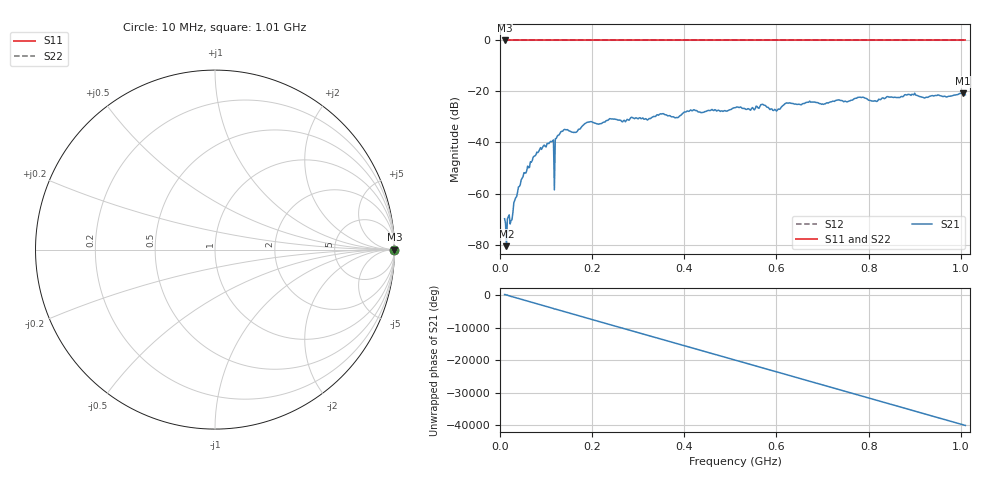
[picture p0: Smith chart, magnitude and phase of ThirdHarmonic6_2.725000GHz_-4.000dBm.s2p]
! 8/17/2025 6:39:56 AM
! C:\ANRITSUVNA\TEMP\TEMP.S2P
! CHANNEL.1
! TR.MEASUREMENT
! RAW.DATA
! RF.CORRECTION.OFF
! AVERAGING.OFF
! IF.BANDWIDTH: 5KHZ
! SWEEPTYPE:  FREQ.SWEEP(Linear)
! Reference Plane Port Info
! PORT:  PORT1  PORT2
! DISTANCE:  0  m  0  m
! TIME:  0  s  0  s
! PHASE.OFFSET:  0  deg.  0  deg.
! LOSS:  0  dB  0  dB
! REF.LOSS:  0  dB  0  dB
! REF.FREQ:  0  Hz  0  Hz
! Power Info
! POWER:  -20  dBm  -20  dBm
! EFF.POWER:  -20  dBm  -20  dBm
! SOURCE.ATTEN:  0  dB  0  dB
! TEST.ATTEN:  0  dB  0  dB
# GHZ S RI R 50.0
! FREQ.GHZ  S11RE  S11IM  S21RE  S21IM  S12RE  S12IM  S22RE  S22IM
!; PortSelection: Port_12
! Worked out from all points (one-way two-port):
!   501 points, 10 MHz to 1.01 GHz, reference 50 ohm
!   highest |S21| = -20.64 dB at 1.004 GHz (marker M1); lowest = -80.6 dB at 14 MHz (marker M2)
!   lowest |S11| = 0.0 dB at 10 MHz (marker M3)
!   |S11| at or under -10 dB: nowhere
!   |S22| runs from 0.0 to 0.0 dB; largest |S21 - S12| = 1.1
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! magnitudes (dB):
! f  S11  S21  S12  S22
! 10 MHz  0.0  -69.9  0.0  0.0
! 14 MHz  0.0  -80.6  0.0  0.0
! 26 MHz  0.0  -70.3  0.0  0.0
! 34 MHz  0.0  -61.7  0.0  0.0
! 50 MHz  0.0  -53.4  0.0  0.0
! 76 MHz  0.0  -45.2  0.0  0.0
! 112 MHz  0.0  -39.7  0.0  0.0
! 114 MHz  0.0  -39.5  0.0  0.0
! 118 MHz  0.0  -58.6  0.0  0.0
! 122 MHz  0.0  -38.4  0.0  0.0
! 124 MHz  0.0  -37.6  0.0  0.0
! 136 MHz  0.0  -35.6  0.0  0.0
! 178 MHz  0.0  -33.7  0.0  0.0
! 344 MHz  0.0  -29.3  0.0  0.0
! 382 MHz  0.0  -30.2  0.0  0.0
! 510 MHz  0.0  -26.3  0.0  0.0
! 570 MHz  0.0  -25.0  0.0  0.0
! 598 MHz  0.0  -27.2  0.0  0.0
! 678 MHz  0.0  -24.2  0.0  0.0
! 844 MHz  0.0  -22.2  0.0  0.0
! 1.004 GHz  0.0  -20.6  0.0  0.0
! 1.01 GHz  0.0  -21.3  0.0  0.0
